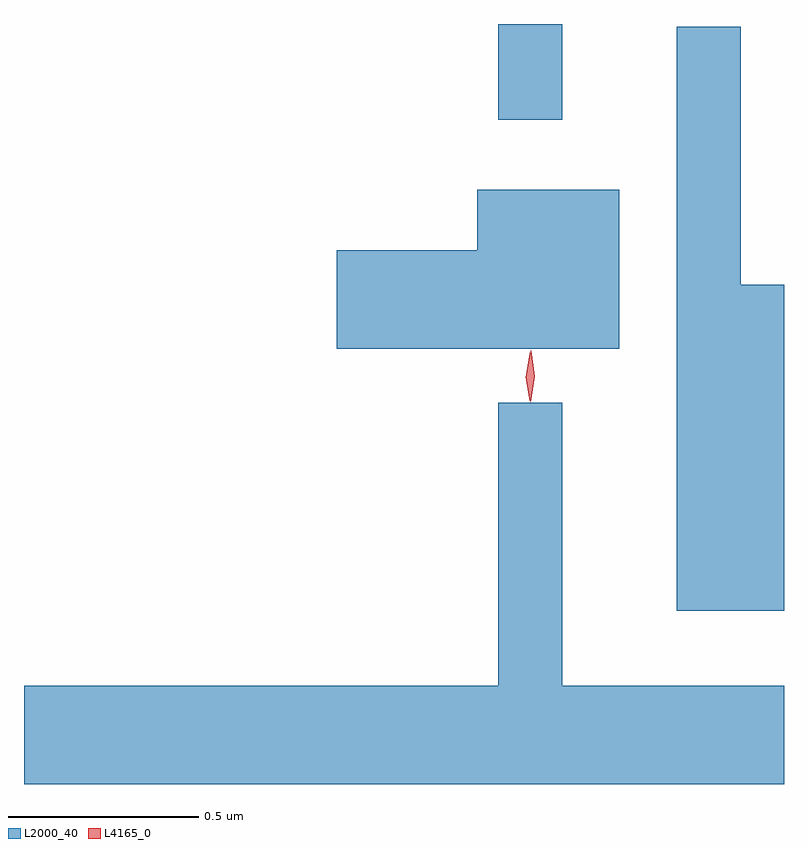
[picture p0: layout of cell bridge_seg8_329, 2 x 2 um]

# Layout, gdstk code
import gdstk
lib = gdstk.Library(unit=1e-6, precision=1e-09)
def R(c, l, rs):  # rectangles x0, y0, x1, y1
    for r in rs: c.add(gdstk.rectangle(r[:2], r[2:], *l))
def P(c, l, *ps):  # polygons
    for p in ps: c.add(gdstk.Polygon(p, *l))
L2000_40 = (2000, 40)
L4165_0 = (4165, 0)

bridge_seg8_329 = lib.new_cell('bridge_seg8_329')
R(bridge_seg8_329, L2000_40, [(1019.361,1942.513,1019.529,1942.765)])
P(bridge_seg8_329, L2000_40, [(1020.113,1942.079),(1019.999,1942.079),(1019.999,1942.758),(1019.831,1942.758),(1019.831,1941.221),(1020.113,1941.221)],
  [(1019.679,1942.329),(1019.306,1942.329),(1019.306,1942.169),(1018.936,1942.169),(1018.936,1941.911),(1019.679,1941.911)],
  [(1020.113,1941.024),(1019.529,1941.024),(1019.529,1941.768),(1019.361,1941.768),(1019.361,1941.024),(1018.113,1941.024),(1018.113,1940.765),(1020.113,1940.765)])
P(bridge_seg8_329, L4165_0, [(1019.446,1941.77),(1019.446,1941.77),(1019.437,1941.838),(1019.447,1941.905),(1019.448,1941.906),(1019.448,1941.905),(1019.457,1941.838),(1019.447,1941.77)],
  [(1019.444,1941.773),(1019.434,1941.836),(1019.444,1941.899),(1019.444,1941.9),(1019.445,1941.899),(1019.454,1941.836),(1019.445,1941.773),(1019.445,1941.773)])

lib.write_gds('bridge_seg8_329.gds')
